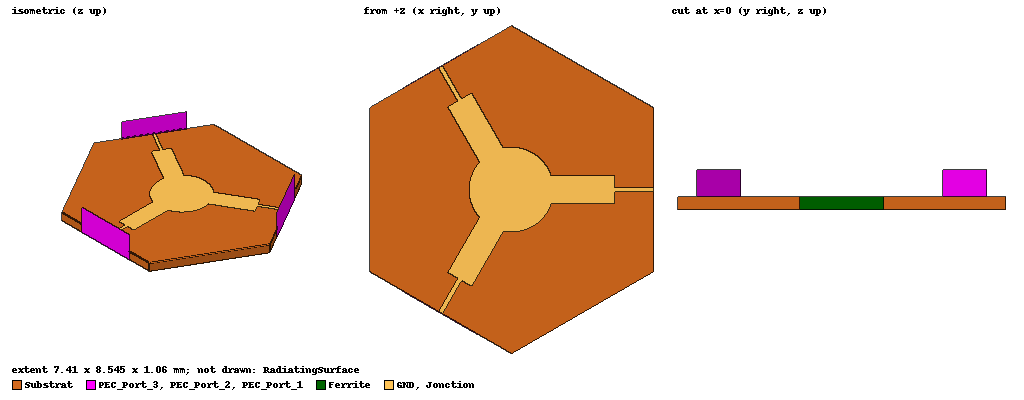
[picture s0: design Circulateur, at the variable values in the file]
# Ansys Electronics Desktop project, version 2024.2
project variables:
  $dielectrique_epsilon = 21
  $dielectrique_tand = 0.003
  $ferrite_epsilon = 20
  $ferrite_tand = 0.005
  $ferrite_Mr = 3500gauss
  $ferrite_delta_H = 200Oe
  $ferrite_freq_delta_H = 40GHz
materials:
  vacuum: permittivity=1
  mon_dielectrique: permittivity=$dielectrique_epsilon permeability=1 dielectric_loss_tangent=$dielectrique_tand
  mon_ferrite: permittivity=$ferrite_epsilon permeability=1 dielectric_loss_tangent=$ferrite_tand
  gold: permeability=0.99996 conductivity=41000000
  pec: conductivity=1e+30
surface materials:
  Steel-oxidised-surface

design Circulateur (HFSS, HFSS Modal Network, model units mm)
options: open_region{BoundaryType=0 OpFreq=24GHz}
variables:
  epaisseur_metallisation = 4um
  rayon_jonction = 1100um
  longueur_adaptation = 1600um
  largeur_adaptation = 720um
  largeur_50_Ohm = 115um
  longueur_50_Ohm_min = 1000um
  hauteur_substrat = 352um
  longueur_substrat = 3700um
  rayon_ferrite = 1100um
  hauteur_ferrite = 352um
  Hk = 14000
  Mr = 3500
  gamma_Chen = hauteur_ferrite/(2*rayon_ferrite)
  Nz = pwl(Nzm_Chen,gamma_Chen)
  Hint = Hk-Nz*Mr
  Hint_apm = 1000*Hint/(4*pi)
  hauteur_port = 1056um
  largeur_port = 2300um
  epaisseur_pec = 10um
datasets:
  Nzm_Chen: (1e-05, 0.9999) (0.0001, 0.9994) (0.001, 0.995) (0.01, 0.965) (0.02, 0.9389) (0.03, 0.9161) (0.04, 0.8954) (0.05, 0.8764) (0.06, 0.8586) (0.07, 0.8419) (0.08, 0.8261) (0.09, 0.811) (0.1, 0.7967) (0.12, 0.7698) (0.14, 0.745) (0.16, 0.7219) (0.18, 0.7004) (0.2, 0.6802) (0.22, 0.6611) (0.24, 0.6432) (0.26, 0.6262) (0.28, 0.6101) (0.3, 0.5947) (0.32, 0.5801) (0.34, 0.5662) (0.36, 0.553) (0.38, 0.5403) (0.4, 0.5281) (0.45, 0.4999) (0.5, 0.4745) (0.55, 0.4514) (0.6, 0.4303) (0.65, 0.411) (0.7, 0.3933) (0.75, 0.377) (0.8, 0.3619) (0.9, 0.3349) (1, 0.3116) (1.1, 0.2911) (1.2, 0.2731) (1.3, 0.2572) (1.4, 0.2429) (1.6, 0.2186) (1.8, 0.1986) (2, 0.1819) (2.5, 0.1501) (3, 0.1278) (3.5, 0.1112) (4, 0.09835) (5, 0.07991) (6, 0.06728) (7, 0.05809) (8, 0.0511) (9, 0.04562) (10, 0.04119)
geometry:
  GND [gold] = cylinder(axis=Z, base_centre=(0mm, 0mm, 0mm), radius=longueur_substrat/cos(30deg), height=-epaisseur_metallisation, segments=6)
  GND.rotate(axis=Z, angle=30deg)
  Substrat [mon_dielectrique] = cylinder(axis=Z, base_centre=(0mm, 0mm, 0mm), radius=longueur_substrat/cos(30deg), height=hauteur_substrat, segments=6)
  Substrat.rotate(axis=Z, angle=30deg)
  Ferrite [mon_ferrite] = cylinder(axis=Z, base_centre=(0mm, 0mm, 0mm), radius=rayon_ferrite, height=hauteur_substrat)
  Ferrite_1 = Ferrite.copy()
  Substrat.subtract(Ferrite_1)
  Jonction [gold] = cylinder(axis=Z, base_centre=(0mm, 0mm, hauteur_substrat), radius=rayon_jonction, height=epaisseur_metallisation)
  Ligne_adaptation_1 = box(corner=(0mm, -largeur_adaptation/2, hauteur_substrat), size=(rayon_jonction+longueur_adaptation, largeur_adaptation, epaisseur_metallisation))
  Ligne_adaptation_2 = box(corner=(0mm, -largeur_adaptation/2, hauteur_substrat), size=(rayon_jonction+longueur_adaptation, largeur_adaptation, epaisseur_metallisation))
  Ligne_adaptation_2.rotate(axis=Z, angle=120deg)
  Ligne_adaptation_3 = box(corner=(0mm, -largeur_adaptation/2, hauteur_substrat), size=(rayon_jonction+longueur_adaptation, largeur_adaptation, epaisseur_metallisation))
  Ligne_adaptation_3.rotate(axis=Z, angle=240deg)
  Ligne_50_Ohm_1 = box(corner=(rayon_jonction+longueur_adaptation, -largeur_50_Ohm/2, hauteur_substrat), size=(longueur_substrat-rayon_jonction-longueur_adaptation, largeur_50_Ohm, epaisseur_metallisation))
  Ligne_50_Ohm_2 = box(corner=(rayon_jonction+longueur_adaptation, -largeur_50_Ohm/2, hauteur_substrat), size=(longueur_substrat-rayon_jonction-longueur_adaptation, largeur_50_Ohm, epaisseur_metallisation))
  Ligne_50_Ohm_2.rotate(axis=Z, angle=120deg)
  Ligne_50_Ohm_3 = box(corner=(rayon_jonction+longueur_adaptation, -largeur_50_Ohm/2, hauteur_substrat), size=(longueur_substrat-rayon_jonction-longueur_adaptation, largeur_50_Ohm, epaisseur_metallisation))
  Ligne_50_Ohm_3.rotate(axis=Z, angle=240deg)
  Jonction.unite(Ligne_adaptation_1, Ligne_adaptation_2, Ligne_adaptation_3, Ligne_50_Ohm_1, Ligne_50_Ohm_2, Ligne_50_Ohm_3)
  PEC_Port_1 [pec] = box(corner=(longueur_substrat, -largeur_port/2, 0mm), size=(epaisseur_pec, largeur_port, hauteur_port))
  PEC_Port_2 [pec] = box(corner=(longueur_substrat, -largeur_port/2, 0mm), size=(epaisseur_pec, largeur_port, hauteur_port))
  PEC_Port_2.rotate(axis=Z, angle=120deg)
  PEC_Port_3 [pec] = box(corner=(longueur_substrat, -largeur_port/2, 0mm), size=(epaisseur_pec, largeur_port, hauteur_port))
  PEC_Port_3.rotate(axis=Z, angle=240deg)
  RadiatingSurface [vacuum] = region(absolute_offset=4.1666667mm on all sides)
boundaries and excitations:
  AutoOpen1: Radiation Objects=RadiatingSurface
  1: Wave Port Faces=PEC_Port_1.face(-x) WavePortType=Modal NumModes=1 Modes{Mode1{CharImp=Zpi RenormImp=50ohm}}
  2: Wave Port Faces=PEC_Port_2.face(at (-1.85, 3.20429, 0.528)) WavePortType=Modal NumModes=1 Modes{Mode1{CharImp=Zpi RenormImp=50ohm}}
  3: Wave Port Faces=PEC_Port_3.face(at (-1.85, -3.20429, 0.528)) WavePortType=Modal NumModes=1 Modes{Mode1{CharImp=Zpi RenormImp=50ohm}}
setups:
  Setup: HfssDriven Frequency=24GHz MaxDeltaS=0.02 MaximumPasses=30 MinimumPasses=1 MinimumConvergedPasses=1 PercentRefinement=20 BasisOrder=1 PortAccuracy=2 DrivenSolverType="Direct Solver"
    sweep Sweep: 20GHz to 28GHz step 0.05GHz; Type=Interpolating SaveFields InterpTolerance=0.5 InterpMaxSolns=250 InterpUsePortImped=false PassivityErrorTolerance=0.0001
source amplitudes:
  1:1: 1W 0deg
  2:1, 3:1: 0W 0deg
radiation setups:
  3D: Infinite Sphere Theta=0deg..180deg step 2deg Phi=-180deg..180deg step 2deg
  Elevation: Infinite Sphere Theta=-180deg..180deg step 1deg Phi=0deg..90deg step 90deg
  Azimuth: Infinite Sphere Theta=90deg..90deg step 0deg Phi=-180deg..180deg step 1deg
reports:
  Tous les ports: dB(S(1,1)), dB(S(2,1)), dB(S(3,1)), dB(S(2,2)), dB(S(3,2)), dB(S(1,2)), dB(S(3,3)), dB(S(1,3)), dB(S(2,3)) vs Freq on Setup : Sweep [epaisseur_metallisation=4um rayon_jonction=1100um longueur_adaptation=1600um largeur_adaptation=720um largeur_50_Ohm=115um longueur_50_Ohm_min=1000um hauteur_substrat=352um longueur_substrat=3700um rayon_ferrite=1100um hauteur_ferrite=352um Hk=14000 Mr=3500 hauteur_port=1056um largeur_port=2300um epaisseur_pec=10um $dielectrique_epsilon=21 $dielectrique_tand=0.003 $ferrite_epsilon=20 $ferrite_tand=0.005 $ferrite_Mr=0.35 $ferrite_delta_H=15915.5 $ferrite_freq_delta_H=40GHz]
  Port 1: db(S11), db(S21), db(S31) vs Freq on Setup : Sweep [epaisseur_metallisation=4um rayon_jonction=1100um longueur_adaptation=1600um largeur_adaptation=720um largeur_50_Ohm=115um longueur_50_Ohm_min=1000um hauteur_substrat=352um longueur_substrat=3700um rayon_ferrite=1100um hauteur_ferrite=352um Hk=14000 Mr=3500 hauteur_port=1056um largeur_port=2300um epaisseur_pec=10um $dielectrique_epsilon=21 $dielectrique_tand=0.003 $ferrite_epsilon=20 $ferrite_tand=0.005 $ferrite_Mr=0.35 $ferrite_delta_H=15915.5 $ferrite_freq_delta_H=40GHz]
  Port 2: dB(S(2,2)), dB(S(3,2)), dB(S(1,2)) vs Freq on Setup : Sweep [epaisseur_metallisation=4um rayon_jonction=1100um longueur_adaptation=1600um largeur_adaptation=720um largeur_50_Ohm=115um longueur_50_Ohm_min=1000um hauteur_substrat=352um longueur_substrat=3700um rayon_ferrite=1100um hauteur_ferrite=352um Hk=14000 Mr=3500 hauteur_port=1056um largeur_port=2300um epaisseur_pec=10um $dielectrique_epsilon=21 $dielectrique_tand=0.003 $ferrite_epsilon=20 $ferrite_tand=0.005 $ferrite_Mr=0.35 $ferrite_delta_H=15915.5 $ferrite_freq_delta_H=40GHz]
  Port 3: dB(S(3,3)), dB(S(1,3)), dB(S(2,3)) vs Freq on Setup : Sweep [epaisseur_metallisation=4um rayon_jonction=1100um longueur_adaptation=1600um largeur_adaptation=720um largeur_50_Ohm=115um longueur_50_Ohm_min=1000um hauteur_substrat=352um longueur_substrat=3700um rayon_ferrite=1100um hauteur_ferrite=352um Hk=14000 Mr=3500 hauteur_port=1056um largeur_port=2300um epaisseur_pec=10um $dielectrique_epsilon=21 $dielectrique_tand=0.003 $ferrite_epsilon=20 $ferrite_tand=0.005 $ferrite_Mr=0.35 $ferrite_delta_H=15915.5 $ferrite_freq_delta_H=40GHz]
  Adaptation: dB(S(1,1)), dB(S(2,2)), dB(S(3,3)) vs Freq on Setup : Sweep [epaisseur_metallisation=4um rayon_jonction=1100um longueur_adaptation=1600um largeur_adaptation=720um largeur_50_Ohm=115um longueur_50_Ohm_min=1000um hauteur_substrat=352um longueur_substrat=3700um rayon_ferrite=1100um hauteur_ferrite=352um Hk=14000 Mr=3500 hauteur_port=1056um largeur_port=2300um epaisseur_pec=10um $dielectrique_epsilon=21 $dielectrique_tand=0.003 $ferrite_epsilon=20 $ferrite_tand=0.005 $ferrite_Mr=0.35 $ferrite_delta_H=15915.5 $ferrite_freq_delta_H=40GHz]
  Isolation: dB(S(2,1)), dB(S(3,2)), dB(S(1,3)) vs Freq on Setup : Sweep [epaisseur_metallisation=4um rayon_jonction=1100um longueur_adaptation=1600um largeur_adaptation=720um largeur_50_Ohm=115um longueur_50_Ohm_min=1000um hauteur_substrat=352um longueur_substrat=3700um rayon_ferrite=1100um hauteur_ferrite=352um Hk=14000 Mr=3500 hauteur_port=1056um largeur_port=2300um epaisseur_pec=10um $dielectrique_epsilon=21 $dielectrique_tand=0.003 $ferrite_epsilon=20 $ferrite_tand=0.005 $ferrite_Mr=0.35 $ferrite_delta_H=15915.5 $ferrite_freq_delta_H=40GHz]
  Transmission: dB(S(3,1)), dB(S(1,2)), dB(S(2,3)) vs Freq on Setup : Sweep [epaisseur_metallisation=4um rayon_jonction=1100um longueur_adaptation=1600um largeur_adaptation=720um largeur_50_Ohm=115um longueur_50_Ohm_min=1000um hauteur_substrat=352um longueur_substrat=3700um rayon_ferrite=1100um hauteur_ferrite=352um Hk=14000 Mr=3500 hauteur_port=1056um largeur_port=2300um epaisseur_pec=10um $dielectrique_epsilon=21 $dielectrique_tand=0.003 $ferrite_epsilon=20 $ferrite_tand=0.005 $ferrite_Mr=0.35 $ferrite_delta_H=15915.5 $ferrite_freq_delta_H=40GHz]
